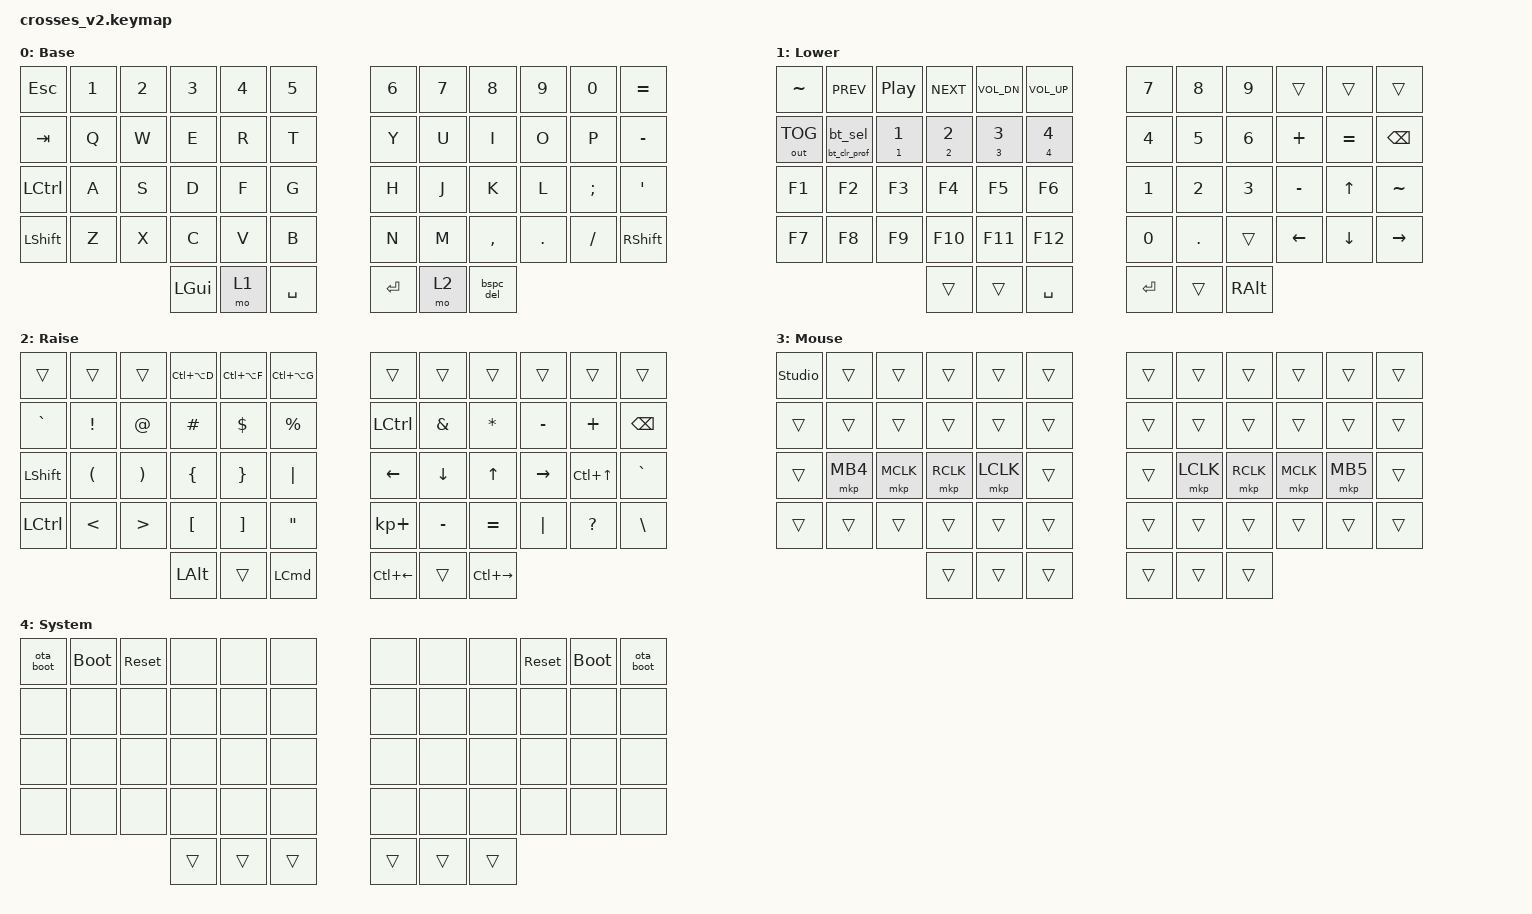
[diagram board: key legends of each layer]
/*
 * Crosses V2 (54-key, Bridges) keymap ported from Neel's Lily58 ZMK config.
 *
 * Port notes vs the Lily58:
 *  - 4x6 matrix per side maps 1:1. Every alpha, number, and outer-column key is unchanged.
 *  - Lily58 had 4 thumbs per side; Crosses has 3. Dropped LALT (left outer) and RGUI (right outer).
 *    Left thumb is a plain LGUI (Cmd); the Mouse layer comes from ball motion (auto mouse layer).
 *  - Lily58's inner bottom-row [ and ] keys do not exist here. Brackets live on Raise, same
 *    positions as before (C/V = [ ], E/R = { }).
 *  - Encoder sensor-bindings removed (no encoder on Crosses).
 *  - Bluetooth: tap BT0-4 selects a profile, hold it 1 s forgets that profile's host.
 *    The dedicated BT_CLR key is gone.
 *  - Shift+Backspace sends Delete (mod-morph on the right thumb).
 *  - Lower outer key toggles USB vs Bluetooth output.
 *  - Left ball defaults to Scroll, right ball to Cursor (default-index overrides).
 *  - Left ball scroll slowed (scaler 1/20, 24 ms) via zip_periph_ball child overrides.
 *  - Lower and Raise thumb positions are &trans on each other's layer so both can be held
 *    together (System layer). Lower numpad is 7-8-9 on the top row down to 0 . on the bottom row,
 *    Option on the right outer thumb. Raise: Option on the left outer thumb.
 *  - System layer (Lower+Raise held): OTA update mode, USB bootloader, reset, per half.
 *  - Right ball 1200 CPI default (res-cpi override on the central).
 *  - Auto mouse layer: ball motion activates layer 3 for 750 ms (see overrides above the root node).
 *  - Mouse layer added as layer 3 with clicks on both home rows so either hand can click
 *    while the other thumb drives a ball. studio_unlock is top-left on that layer (GGGW default).
 */

#include <behaviors.dtsi>
#include <dt-bindings/zmk/bt.h>
#include <dt-bindings/zmk/keys.h>
#include <dt-bindings/zmk/outputs.h>
#include <dt-bindings/zmk/pointing.h>
#include <input/processors.dtsi>
#include <dt-bindings/zmk/input_transform.h>

// Auto mouse layer: any ball movement turns on layer 3 (Mouse) for 750 ms after the
// last motion, so S/D/F and J/K/L become clicks while pointing. It will not activate
// if a key was pressed in the last 200 ms, so brushing the ball mid-typing does nothing.
&zip_temp_layer {
    require-prior-idle-ms = <200>;
};
&trackball_central_listener {
    input-processors = <&zip_central_ball>, <&zip_temp_layer 3 750>;
};
&trackball_peripheral_listener {
    input-processors = <&zip_temp_layer 3 750>;
};

// Ball roles: left ball scrolls, right ball moves the cursor.
// Pipeline index: 0 = Cursor, 1 = Scroll, 2 = Scroll with Y inverted.
// If scroll direction feels backwards, change the left one to <2>.
// Note: the modes are persistent; a choice made later in the tuning app overrides these defaults.
&zip_periph_ball  { default-index = <1>; };
&zip_central_ball { default-index = <0>; };

// Right (cursor) ball resolution: 1200 CPI power-on default instead of the vendor's 700, in line
// with Logitech's trackball and ergo-mouse defaults. Only the central node exists on the right
// build, so this is guarded; the left (scroll) ball stays at 700. A value saved later from the
// tuning app still takes precedence.
#if defined(CONFIG_ZMK_SPLIT_ROLE_CENTRAL)
&trackball_central { res-cpi = <1200>; };
&cpi_set_r { default-cpi = <1200>; };
#endif

// Gentler scrolling on the left ball. The vendor pipeline divides ball travel by 8
// and reports every 16 ms; that felt too fast and twitchy. Divide by 20 and report
// every 24 ms instead. Raise the divisor to slow it further, lower it to speed up.
&zip_periph_ball {
    scroll_up {
        input-processors
          = <&zip_xy_to_scroll_mapper>
          , <&zip_scroll_scaler 1 20>
          , <&zip_report_rate_limit 24>;
    };
    scroll_down {
        input-processors
          = <&zip_xy_transform (INPUT_TRANSFORM_Y_INVERT)>
          , <&zip_xy_to_scroll_mapper>
          , <&zip_scroll_scaler 1 20>
          , <&zip_report_rate_limit 24>;
    };
};

/ {
    chosen { zmk,physical-layout = &gggw_crosses_54_layout; };

    macros {
        // Select profile N (one-param wrapper so it can live inside a hold-tap)
        bt_sel: bt_sel {
            compatible = "zmk,behavior-macro-one-param";
            #binding-cells = <1>;
            bindings = <&macro_param_1to2>, <&bt BT_SEL MACRO_PLACEHOLDER>;
        };
        // Select profile N, then clear it (BT_CLR only ever clears the active profile)
        bt_clr_prof: bt_clr_prof {
            compatible = "zmk,behavior-macro-one-param";
            #binding-cells = <1>;
            wait-ms = <50>;
            bindings = <&macro_param_1to2>, <&bt BT_SEL MACRO_PLACEHOLDER>, <&bt BT_CLR>;
        };
    };

    // Lower + Raise held together = System layer (index 4): OTA / USB bootloader / reset keys.
    conditional_layers {
        compatible = "zmk,conditional-layers";
        system_tri {
            if-layers = <1 2>;
            then-layer = <4>;
        };
    };

    behaviors {
        // Reboot the half this key is on into the bootloader's over-the-air DFU mode (GPREGRET 0xA8).
        // ZMK's own &bootloader can only request USB/UF2 mode via boot-mode retention, hence the custom behavior.
        // Then flash from a phone with nRF Connect. See ~/Desktop/GGGBK/ota/README.md.
        ota_boot: ota_boot {
            compatible = "zmk,behavior-ota-reset";   // custom, see src/behavior_ota_reset.c
            #binding-cells = <0>;
            display-name = "OTA";
        };
        // Shift+Backspace = Delete (shift is not passed through)
        bspc_del: bspc_del {
            compatible = "zmk,behavior-mod-morph";
            #binding-cells = <0>;
            bindings = <&kp BSPC>, <&kp DEL>;
            mods = <(MOD_LSFT|MOD_RSFT)>;
        };
        // Tap: switch to profile N. Hold 1 s: forget the host paired on profile N.
        // Use as &bt_ht N N
        bt_ht: bt_ht {
            compatible = "zmk,behavior-hold-tap";
            #binding-cells = <2>;
            flavor = "tap-preferred";
            tapping-term-ms = <1000>;
            bindings = <&bt_clr_prof>, <&bt_sel>;
        };
    };

    keymap {
        compatible = "zmk,keymap";

        default_layer {
            // ------------------------------------------------------------------------------------------
            // |  ESC  |  1  |  2  |  3  |  4  |  5  |      |  6  |  7  |  8  |  9  |  0  |   =   |
            // |  TAB  |  Q  |  W  |  E  |  R  |  T  |      |  Y  |  U  |  I  |  O  |  P  |   -   |
            // | CTRL  |  A  |  S  |  D  |  F  |  G  |      |  H  |  J  |  K  |  L  |  ;  |   '   |
            // | SHIFT |  Z  |  X  |  C  |  V  |  B  |      |  N  |  M  |  ,  |  .  |  /  | SHIFT |
            //             |    CMD    | LOWER | SPACE |  | ENTER | RAISE | BSPC (shift = DEL) |
            display-name = "Base";
            bindings = <
&kp ESC           &kp N1  &kp N2  &kp N3  &kp N4  &kp N5       &kp N6  &kp N7  &kp N8     &kp N9   &kp N0    &kp EQUAL
&kp TAB           &kp Q   &kp W   &kp E   &kp R   &kp T        &kp Y   &kp U   &kp I      &kp O    &kp P     &kp MINUS
&kp LEFT_CONTROL  &kp A   &kp S   &kp D   &kp F   &kp G        &kp H   &kp J   &kp K      &kp L    &kp SEMI  &kp SQT
&kp LEFT_SHIFT    &kp Z   &kp X   &kp C   &kp V   &kp B        &kp N   &kp M   &kp COMMA  &kp DOT  &kp FSLH  &kp RSHFT
                          &kp LGUI    &mo 1  &kp SPACE         &kp RET  &mo 2  &bspc_del
            >;
        };

        lower_layer {
            // ------------------------------------------------------------------------------------------
            // |   ~   | PREV| PLAY| NEXT| VOL-| VOL+|      |  7  |  8  |  9  |      |      |       |
            // |USB/BT | BT0 | BT1 | BT2 | BT3 | BT4 |      |  4  |  5  |  6  |  +   |  =   | BSPC  |
            // |  F1   | F2  | F3  | F4  | F5  | F6  |      |  1  |  2  |  3  |  -   |  UP  |   ~   |
            // |  F7   | F8  | F9  | F10 | F11 | F12 |      |  0  |  .  |  ,  | LEFT | DOWN | RIGHT |
            //             | ___  | ___ | SPACE |  | ENTER | ___ | ALT |   (left outer thumb falls through to Cmd)
            // BT0-4: tap = select, hold 1 s = clear that profile. Media keys under the left hand (one-handed with the Lower thumb); numpad under the right hand.
            display-name = "Lower";
            bindings = <
&kp TILDE     &kp C_PREV    &kp C_PP      &kp C_NEXT    &kp C_VOL_DN  &kp C_VOL_UP      &kp NUMBER_7  &kp NUMBER_8  &kp NUMBER_9  &trans             &trans           &trans
&out OUT_TOG  &bt_ht 0 0    &bt_ht 1 1    &bt_ht 2 2    &bt_ht 3 3    &bt_ht 4 4        &kp NUMBER_4  &kp NUMBER_5  &kp NUMBER_6  &kp PLUS           &kp EQUAL        &kp BACKSPACE
&kp F1        &kp F2        &kp F3        &kp F4        &kp F5        &kp F6            &kp NUMBER_1  &kp NUMBER_2  &kp NUMBER_3  &kp MINUS          &kp UP_ARROW     &kp TILDE
&kp F7        &kp F8        &kp F9        &kp F10       &kp F11       &kp F12           &kp NUMBER_0  &kp DOT       &trans        &kp LEFT           &kp DOWN         &kp RIGHT
                            &trans            &trans  &kp SPACE                          &kp ENTER  &trans  &kp RIGHT_ALT
            >;
        };

        raise_layer {
            // ------------------------------------------------------------------------------------------
            // |      |     |     |C-O-D|C-O-F|C-O-G|      |      |     |     |     |     |      |   Magnet thirds
            // |  `   |  !  |  @  |  #  |  $  |  %  |      | CTRL |  &  |  *  |  -  |  +  | BSPC |
            // | SHFT |  (  |  )  |  {  |  }  |  |  |      | LEFT | DOWN| UP  |RIGHT|C-UP |  `   |
            // | CTRL |  <  |  >  |  [  |  ]  |  "  |      |  KP+ |  -  |  =  |  |  |  ?  |  \   |
            //             | ALT  | ___ | CMD |  | C-LEFT | ___ | C-RIGHT |
            display-name = "Raise";
            bindings = <
&trans            &trans           &trans            &kp LC(LA(D))     &kp LC(LA(F))      &kp LC(LA(G))        &trans       &trans         &trans        &trans     &trans            &trans
&kp GRAVE         &kp EXCLAMATION  &kp AT_SIGN       &kp HASH          &kp DOLLAR         &kp PERCENT          &kp LCTRL    &kp AMPERSAND  &kp ASTERISK  &kp MINUS  &kp PLUS          &kp BACKSPACE
&kp LEFT_SHIFT    &kp LPAR         &kp RPAR          &kp LEFT_BRACE    &kp RIGHT_BRACE    &kp PIPE             &kp LEFT     &kp DOWN       &kp UP_ARROW  &kp RIGHT  &kp LC(UP_ARROW)  &kp GRAVE
&kp LEFT_CONTROL  &kp LESS_THAN    &kp GREATER_THAN  &kp LEFT_BRACKET  &kp RIGHT_BRACKET  &kp DOUBLE_QUOTES    &kp KP_PLUS  &kp MINUS      &kp EQUAL     &kp PIPE   &kp QUESTION      &kp BSLH
                                   &kp LEFT_ALT      &trans        &kp LEFT_COMMAND                            &kp LC(LEFT)  &trans  &kp LC(RIGHT)
            >;
        };

        mouse_layer {
            // Activated by ball motion (auto mouse layer). Clicks on both home rows:
            // Index = left click, middle finger = right click, ring = middle click, pinky = back/forward.
            // Left hand A/S/D/F = back/middle/right/left; right hand J/K/L/; = left/right/middle/forward.
            display-name = "Mouse";
            bindings = <
&studio_unlock  &trans  &trans     &trans     &trans     &trans       &trans  &trans     &trans     &trans     &trans  &trans
&trans          &trans  &trans     &trans     &trans     &trans       &trans  &trans     &trans     &trans     &trans  &trans
&trans          &mkp MB4  &mkp MCLK  &mkp RCLK  &mkp LCLK  &trans       &trans  &mkp LCLK  &mkp RCLK  &mkp MCLK  &mkp MB5  &trans
&trans          &trans  &trans     &trans     &trans     &trans       &trans  &trans     &trans     &trans     &trans  &trans
                                   &trans  &trans  &trans               &trans  &trans  &trans
            >;
        };

        system_layer {
            // Only active while BOTH Lower and Raise thumbs are held.
            // Left half:  Esc = OTA update mode, 1 = USB bootloader, 2 = reset.
            // Right half: =   = OTA update mode, 0 = USB bootloader, 9 = reset.
            // Each key acts on the half it is physically on.
            display-name = "System";
            bindings = <
&ota_boot  &bootloader  &sys_reset  &none  &none  &none       &none  &none  &none  &sys_reset  &bootloader  &ota_boot
&none      &none        &none       &none  &none  &none       &none  &none  &none  &none       &none        &none
&none      &none        &none       &none  &none  &none       &none  &none  &none  &none       &none        &none
&none      &none        &none       &none  &none  &none       &none  &none  &none  &none       &none        &none
                                    &trans  &trans  &trans               &trans  &trans  &trans
            >;
        };
    };
};
